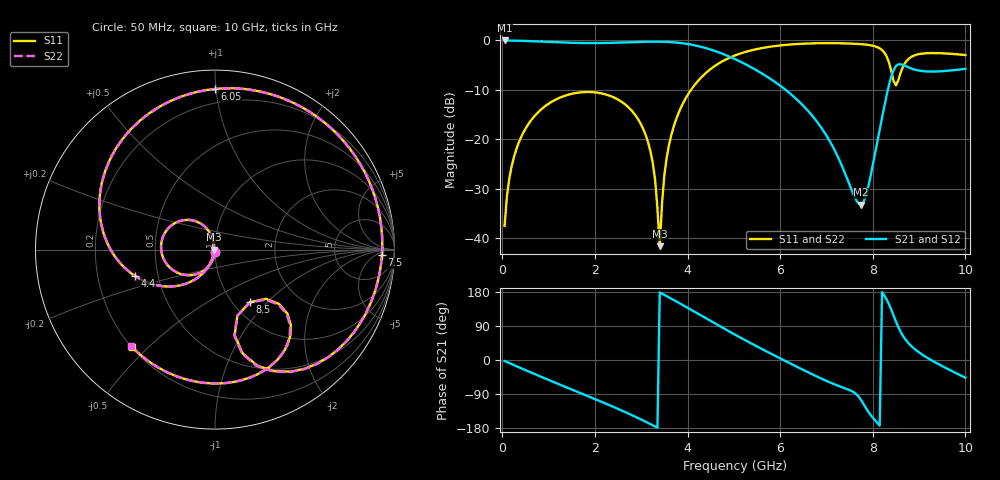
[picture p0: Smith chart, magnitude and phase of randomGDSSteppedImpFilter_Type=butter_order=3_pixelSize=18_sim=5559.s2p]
! freq	dB(S11)	phase(S11)	dB(S12)	phase(S12)
!  dB(S21)	phase(S21)	dB(S22)	phase(S22)
!S-par simulation data
#  GHz  S  DB  R 50
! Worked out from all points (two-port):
!   200 points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, 50 MHz to 10 GHz, reference 50 ohm
!   highest |S21| = 0.00 dB at 50 MHz (marker M1); lowest = -33.2 dB at 7.75 GHz (marker M2)
!   |S21| within 3 dB of the highest: start of sweep to 4.837 GHz
!   lowest |S11| = -41.6 dB at 3.4 GHz (marker M3), VSWR 1.02, Z = 49.2 - j0.0625 ohm
!   |S11| at or under -10 dB: start of sweep to 4.075 GHz
!   |S22| runs from -42.3 to -0.5 dB; largest |S21 - S12| = 0
!   S11 on the Smith chart (normalised r, x): 50 MHz: 1.00, -0.03; 4.4 GHz: 0.37, -0.14; 6.05 GHz: 0.11, +0.99; 7.5 GHz: 23, -11; 8.5 GHz: 1.19, -0.80; 10 GHz: 0.20, -0.44
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0.05  -37.48 -92.8  -0.00 -2.7  -0.00 -2.7  -37.49 -92.8
0.2  -25.52 -101.0  -0.03 -10.8  -0.03 -10.8  -25.52 -101.0
0.5  -17.86 -117.0  -0.10 -26.7  -0.10 -26.7  -17.86 -117.1
1.75  -10.45 179.1  -0.52 -90.4  -0.52 -90.4  -10.45 179.0
3  -17.05 114.1  -0.29 -157.1  -0.29 -157.1  -17.05 113.7
3.25  -24.80 102.8  -0.25 -172.3  -0.25 -172.3  -24.81 101.9
3.4  -41.58 -175.6  -0.26 178.3  -0.26 178.3  -42.29 -175.2
3.5  -27.19 -107.9  -0.28 171.8  -0.28 171.8  -27.22 -106.9
3.65  -19.12 -112.6  -0.35 161.8  -0.35 161.8  -19.13 -112.3
4.4  -6.55 -161.9  -1.56 109.8  -1.56 109.8  -6.55 -161.9
5.05  -2.94 154.1  -3.88 65.1  -3.88 65.1  -2.94 153.9
6.05  -0.96 90.1  -9.49 1.1  -9.49 1.1  -0.96 89.7
6.7  -0.59 49.4  -15.30 -38.2  -15.30 -38.2  -0.59 48.9
7.5  -0.62 -2.0  -29.21 -79.4  -29.21 -79.4  -0.63 -2.4
7.75  -0.76 -19.2  -33.18 -106.1  -33.18 -106.1  -0.76 -19.7
8.15  -1.60 -52.8  -18.01 -173.0  -18.01 -173.0  -1.60 -53.2
8.35  -4.46 -75.1  -9.00 147.1  -9.00 147.1  -4.45 -75.4
8.5  -9.08 -56.4  -5.18 101.7  -5.18 101.7  -9.03 -56.8
8.65  -5.37 -41.5  -4.95 64.0  -4.95 64.0  -5.36 -42.1
8.9  -3.02 -60.5  -5.88 29.4  -5.88 29.4  -3.02 -61.0
9.4  -2.56 -94.4  -6.27 -9.7  -6.27 -9.7  -2.56 -94.8
10  -2.95 -130.6  -5.75 -46.8  -5.75 -46.8  -2.95 -131.0
